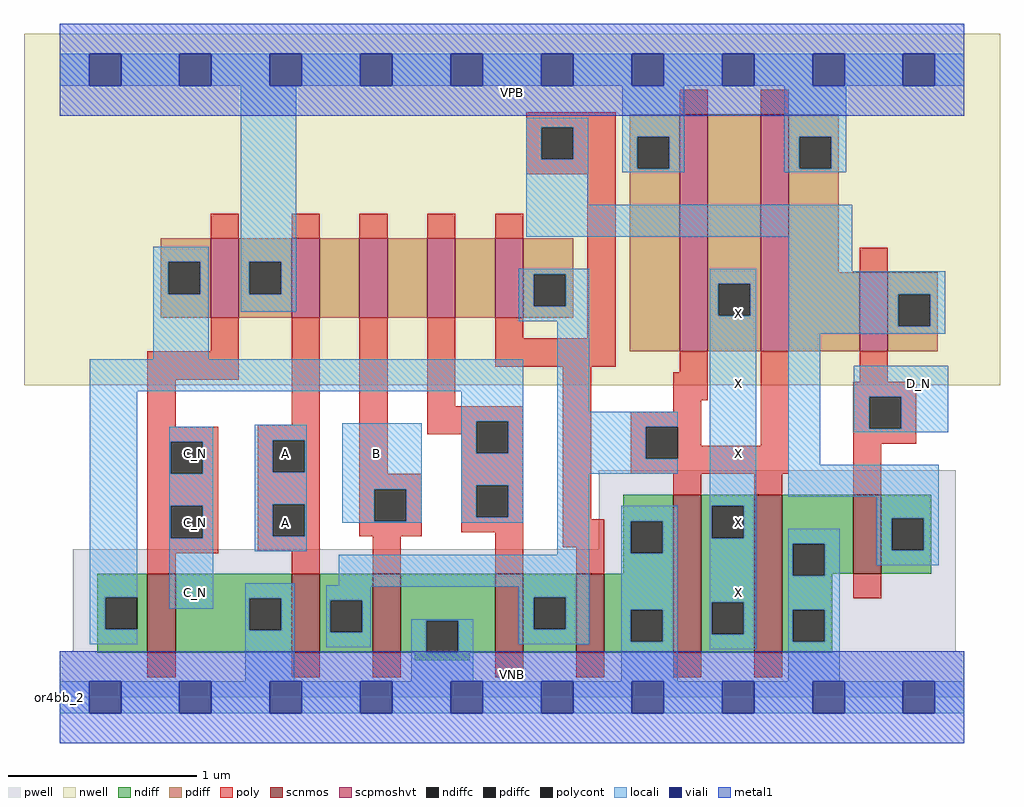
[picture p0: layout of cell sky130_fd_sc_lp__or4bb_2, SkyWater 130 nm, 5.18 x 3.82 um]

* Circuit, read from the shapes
.subckt sky130_fd_sc_lp__or4bb_2 A B C_N D_N VGND VNB VPB VPWR X
XM1 VGND C_N n1 VNB sky130_fd_pr__nfet_01v8 w=0.42 l=0.15
XM2 n2 A VGND VNB sky130_fd_pr__nfet_01v8 w=0.42 l=0.15
XM3 VGND B n2 VNB sky130_fd_pr__nfet_01v8 w=0.42 l=0.15
XM4 n2 n1 VGND VNB sky130_fd_pr__nfet_01v8 w=0.42 l=0.15
XM5 VGND n3 n2 VNB sky130_fd_pr__nfet_01v8 w=0.42 l=0.15
XM6 X n2 VGND VNB sky130_fd_pr__nfet_01v8 w=0.84 l=0.15 m=2
XM7 n3 D_N VGND VNB sky130_fd_pr__nfet_01v8 w=0.42 l=0.15
XM8 VPWR C_N n1 VPB sky130_fd_pr__pfet_01v8_hvt w=0.42 l=0.15
XM9 n4 A VPWR VPB sky130_fd_pr__pfet_01v8_hvt w=0.42 l=0.15
XM10 n5 B n4 VPB sky130_fd_pr__pfet_01v8_hvt w=0.42 l=0.15
XM11 n6 n1 n5 VPB sky130_fd_pr__pfet_01v8_hvt w=0.42 l=0.15
XM12 n2 n3 n6 VPB sky130_fd_pr__pfet_01v8_hvt w=0.42 l=0.15
XM13 X n2 VPWR VPB sky130_fd_pr__pfet_01v8_hvt w=1.26 l=0.15 m=2
XM14 n3 D_N VPWR VPB sky130_fd_pr__pfet_01v8_hvt w=0.42 l=0.15
.ends

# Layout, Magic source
magic
tech sky130A
magscale 1 2
<< nwell >>
rect -38 331 998 704
<< pwell >>
rect 572 157 951 241
rect 14 49 951 157
rect 0 0 960 49
<< scnmos >>
rect 93 47 123 131
rect 246 47 276 131
rect 332 47 362 131
rect 462 47 492 131
rect 548 47 578 131
rect 651 47 681 215
rect 737 47 767 215
rect 842 131 872 215
<< scpmoshvt >>
rect 160 403 190 487
rect 246 403 276 487
rect 318 403 348 487
rect 390 403 420 487
rect 462 403 492 487
rect 658 367 688 619
rect 744 367 774 619
rect 849 367 879 451
<< ndiff >>
rect 598 187 651 215
rect 598 153 606 187
rect 640 153 651 187
rect 598 131 651 153
rect 40 106 93 131
rect 40 72 48 106
rect 82 72 93 106
rect 40 47 93 72
rect 123 105 246 131
rect 123 71 201 105
rect 235 71 246 105
rect 123 47 246 71
rect 276 103 332 131
rect 276 69 287 103
rect 321 69 332 103
rect 276 47 332 69
rect 362 81 462 131
rect 362 47 389 81
rect 423 47 462 81
rect 492 106 548 131
rect 492 72 503 106
rect 537 72 548 106
rect 492 47 548 72
rect 578 93 651 131
rect 578 59 606 93
rect 640 59 651 93
rect 578 47 651 59
rect 681 203 737 215
rect 681 169 692 203
rect 726 169 737 203
rect 681 101 737 169
rect 681 67 692 101
rect 726 67 737 101
rect 681 47 737 67
rect 767 163 842 215
rect 767 129 778 163
rect 812 131 842 163
rect 872 190 925 215
rect 872 156 883 190
rect 917 156 925 190
rect 872 131 925 156
rect 812 129 820 131
rect 767 93 820 129
rect 767 59 778 93
rect 812 59 820 93
rect 767 47 820 59
rect 377 39 435 47
<< pdiff >>
rect 107 462 160 487
rect 107 428 115 462
rect 149 428 160 462
rect 107 403 160 428
rect 190 462 246 487
rect 190 428 201 462
rect 235 428 246 462
rect 190 403 246 428
rect 276 403 318 487
rect 348 403 390 487
rect 420 403 462 487
rect 492 449 545 487
rect 492 415 503 449
rect 537 415 545 449
rect 492 403 545 415
rect 605 595 658 619
rect 605 561 613 595
rect 647 561 658 595
rect 605 367 658 561
rect 688 439 744 619
rect 688 405 699 439
rect 733 405 744 439
rect 688 367 744 405
rect 774 595 827 619
rect 774 561 785 595
rect 819 561 827 595
rect 774 451 827 561
rect 774 367 849 451
rect 879 428 932 451
rect 879 394 890 428
rect 924 394 932 428
rect 879 367 932 394
<< ndiffc >>
rect 606 153 640 187
rect 48 72 82 106
rect 201 71 235 105
rect 287 69 321 103
rect 389 47 423 81
rect 503 72 537 106
rect 606 59 640 93
rect 692 169 726 203
rect 692 67 726 101
rect 778 129 812 163
rect 883 156 917 190
rect 778 59 812 93
<< pdiffc >>
rect 115 428 149 462
rect 201 428 235 462
rect 503 415 537 449
rect 613 561 647 595
rect 699 405 733 439
rect 785 561 819 595
rect 890 394 924 428
<< poly >>
rect 495 605 590 621
rect 658 619 688 645
rect 744 619 774 645
rect 495 571 511 605
rect 545 571 590 605
rect 495 555 590 571
rect 160 487 190 513
rect 246 487 276 513
rect 318 487 348 513
rect 390 487 420 513
rect 462 487 492 513
rect 160 367 190 403
rect 93 337 190 367
rect 93 287 123 337
rect 246 289 276 403
rect 93 271 168 287
rect 93 237 118 271
rect 152 237 168 271
rect 93 203 168 237
rect 93 169 118 203
rect 152 169 168 203
rect 93 153 168 169
rect 210 273 276 289
rect 210 239 226 273
rect 260 239 276 273
rect 210 205 276 239
rect 210 171 226 205
rect 260 171 276 205
rect 318 237 348 403
rect 390 309 420 403
rect 462 381 492 403
rect 560 381 590 555
rect 462 351 590 381
rect 849 451 879 477
rect 390 293 492 309
rect 390 279 442 293
rect 426 259 442 279
rect 476 259 492 293
rect 318 221 384 237
rect 318 187 334 221
rect 368 187 384 221
rect 318 171 384 187
rect 426 225 492 259
rect 426 191 442 225
rect 476 191 492 225
rect 426 175 492 191
rect 210 155 276 171
rect 93 131 123 153
rect 246 131 276 155
rect 332 131 362 171
rect 462 131 492 175
rect 534 189 564 351
rect 658 345 688 367
rect 651 315 688 345
rect 651 303 681 315
rect 606 287 681 303
rect 606 253 622 287
rect 656 267 681 287
rect 744 267 774 367
rect 849 335 879 367
rect 656 253 774 267
rect 606 237 774 253
rect 842 319 909 335
rect 842 285 859 319
rect 893 285 909 319
rect 842 269 909 285
rect 651 215 681 237
rect 737 215 767 237
rect 842 215 872 269
rect 534 159 578 189
rect 548 131 578 159
rect 842 105 872 131
rect 93 21 123 47
rect 246 21 276 47
rect 332 21 362 47
rect 462 21 492 47
rect 548 21 578 47
rect 651 21 681 47
rect 737 21 767 47
<< polycont >>
rect 511 571 545 605
rect 118 237 152 271
rect 118 169 152 203
rect 226 239 260 273
rect 226 171 260 205
rect 442 259 476 293
rect 334 187 368 221
rect 442 191 476 225
rect 622 253 656 287
rect 859 285 893 319
<< locali >>
rect 0 649 31 683
rect 65 649 127 683
rect 161 649 223 683
rect 257 649 319 683
rect 353 649 415 683
rect 449 649 511 683
rect 545 649 607 683
rect 641 649 703 683
rect 737 649 799 683
rect 833 649 895 683
rect 929 649 960 683
rect 99 462 158 478
rect 99 428 115 462
rect 149 428 158 462
rect 99 359 158 428
rect 192 462 251 649
rect 495 605 561 615
rect 495 571 511 605
rect 545 571 561 605
rect 495 523 561 571
rect 597 595 663 649
rect 597 561 613 595
rect 647 561 663 595
rect 597 557 663 561
rect 769 595 835 649
rect 769 561 785 595
rect 819 561 835 595
rect 769 557 835 561
rect 495 489 841 523
rect 192 428 201 462
rect 235 428 251 462
rect 192 409 251 428
rect 487 449 562 455
rect 487 415 503 449
rect 537 415 562 449
rect 487 399 562 415
rect 32 325 492 359
rect 32 106 82 325
rect 426 293 492 325
rect 32 72 48 106
rect 116 271 163 287
rect 116 237 118 271
rect 152 237 163 271
rect 116 203 163 237
rect 116 169 118 203
rect 152 169 163 203
rect 116 94 163 169
rect 207 273 262 289
rect 207 239 226 273
rect 260 239 262 273
rect 207 205 262 239
rect 207 171 226 205
rect 260 171 262 205
rect 300 221 384 291
rect 300 187 334 221
rect 368 187 384 221
rect 300 185 384 187
rect 426 259 442 293
rect 476 259 492 293
rect 426 225 492 259
rect 426 191 442 225
rect 476 191 492 225
rect 426 185 492 191
rect 528 303 562 399
rect 690 439 739 455
rect 690 405 699 439
rect 733 405 739 439
rect 528 287 656 303
rect 528 253 622 287
rect 528 237 656 253
rect 207 155 262 171
rect 528 151 562 237
rect 690 203 739 405
rect 773 452 841 489
rect 773 428 940 452
rect 773 394 890 428
rect 924 394 940 428
rect 773 386 940 394
rect 773 247 807 386
rect 843 319 943 352
rect 843 285 859 319
rect 893 285 943 319
rect 843 281 943 285
rect 773 213 933 247
rect 197 105 249 121
rect 296 119 562 151
rect 32 56 82 72
rect 197 71 201 105
rect 235 71 249 105
rect 197 17 249 71
rect 283 117 562 119
rect 283 103 330 117
rect 283 69 287 103
rect 321 69 330 103
rect 487 106 562 117
rect 283 53 330 69
rect 373 81 439 83
rect 373 47 389 81
rect 423 47 439 81
rect 487 72 503 106
rect 537 72 562 106
rect 487 56 562 72
rect 596 187 656 203
rect 596 153 606 187
rect 640 153 656 187
rect 596 93 656 153
rect 596 59 606 93
rect 640 59 656 93
rect 373 17 439 47
rect 596 17 656 59
rect 690 169 692 203
rect 726 169 739 203
rect 867 190 933 213
rect 690 101 739 169
rect 690 67 692 101
rect 726 67 739 101
rect 690 51 739 67
rect 773 163 828 179
rect 773 129 778 163
rect 812 129 828 163
rect 867 156 883 190
rect 917 156 933 190
rect 867 140 933 156
rect 773 93 828 129
rect 773 59 778 93
rect 812 59 828 93
rect 773 17 828 59
rect 0 -17 31 17
rect 65 -17 127 17
rect 161 -17 223 17
rect 257 -17 319 17
rect 353 -17 415 17
rect 449 -17 511 17
rect 545 -17 607 17
rect 641 -17 703 17
rect 737 -17 799 17
rect 833 -17 895 17
rect 929 -17 960 17
<< viali >>
rect 31 649 65 683
rect 127 649 161 683
rect 223 649 257 683
rect 319 649 353 683
rect 415 649 449 683
rect 511 649 545 683
rect 607 649 641 683
rect 703 649 737 683
rect 799 649 833 683
rect 895 649 929 683
rect 31 -17 65 17
rect 127 -17 161 17
rect 223 -17 257 17
rect 319 -17 353 17
rect 415 -17 449 17
rect 511 -17 545 17
rect 607 -17 641 17
rect 703 -17 737 17
rect 799 -17 833 17
rect 895 -17 929 17
<< metal1 >>
rect 0 683 960 715
rect 0 649 31 683
rect 65 649 127 683
rect 161 649 223 683
rect 257 649 319 683
rect 353 649 415 683
rect 449 649 511 683
rect 545 649 607 683
rect 641 649 703 683
rect 737 649 799 683
rect 833 649 895 683
rect 929 649 960 683
rect 0 617 960 649
rect 0 17 960 49
rect 0 -17 31 17
rect 65 -17 127 17
rect 161 -17 223 17
rect 257 -17 319 17
rect 353 -17 415 17
rect 449 -17 511 17
rect 545 -17 607 17
rect 641 -17 703 17
rect 737 -17 799 17
rect 833 -17 895 17
rect 929 -17 960 17
rect 0 -49 960 -17
<< labels >>
flabel pwell s 0 0 960 49 0 FreeSans 200 0 0 0 VNB
port 6 nsew ground bidirectional
flabel nwell s 0 617 960 666 0 FreeSans 200 0 0 0 VPB
port 7 nsew power bidirectional
rlabel comment s 0 0 0 0 4 or4bb_2
flabel metal1 s 0 617 960 666 0 FreeSans 340 0 0 0 VPWR
port 8 nsew power bidirectional
flabel metal1 s 0 0 960 49 0 FreeSans 340 0 0 0 VGND
port 5 nsew ground bidirectional
flabel locali s 223 168 257 202 0 FreeSans 340 0 0 0 A
port 1 nsew signal input
flabel locali s 223 242 257 276 0 FreeSans 340 0 0 0 A
port 1 nsew signal input
flabel locali s 319 242 353 276 0 FreeSans 340 0 0 0 B
port 2 nsew signal input
flabel locali s 127 94 161 128 0 FreeSans 340 0 0 0 C_N
port 3 nsew signal input
flabel locali s 127 168 161 202 0 FreeSans 340 0 0 0 C_N
port 3 nsew signal input
flabel locali s 127 242 161 276 0 FreeSans 340 0 0 0 C_N
port 3 nsew signal input
flabel locali s 895 316 929 350 0 FreeSans 340 0 0 0 D_N
port 4 nsew signal input
flabel locali s 703 94 737 128 0 FreeSans 340 0 0 0 X
port 9 nsew signal output
flabel locali s 703 168 737 202 0 FreeSans 340 0 0 0 X
port 9 nsew signal output
flabel locali s 703 242 737 276 0 FreeSans 340 0 0 0 X
port 9 nsew signal output
flabel locali s 703 316 737 350 0 FreeSans 340 0 0 0 X
port 9 nsew signal output
flabel locali s 703 390 737 424 0 FreeSans 340 0 0 0 X
port 9 nsew signal output
<< properties >>
string LEFsite unit
string LEFclass CORE
string FIXED_BBOX 0 0 960 666
string GDS_FILE $PDKPATH/libs.ref/sky130_fd_sc_lp/gds/sky130_fd_sc_lp.gds
string LEFsymmetry X Y R90
string GDS_END 6658578
string GDS_START 6650180
<< end >>
